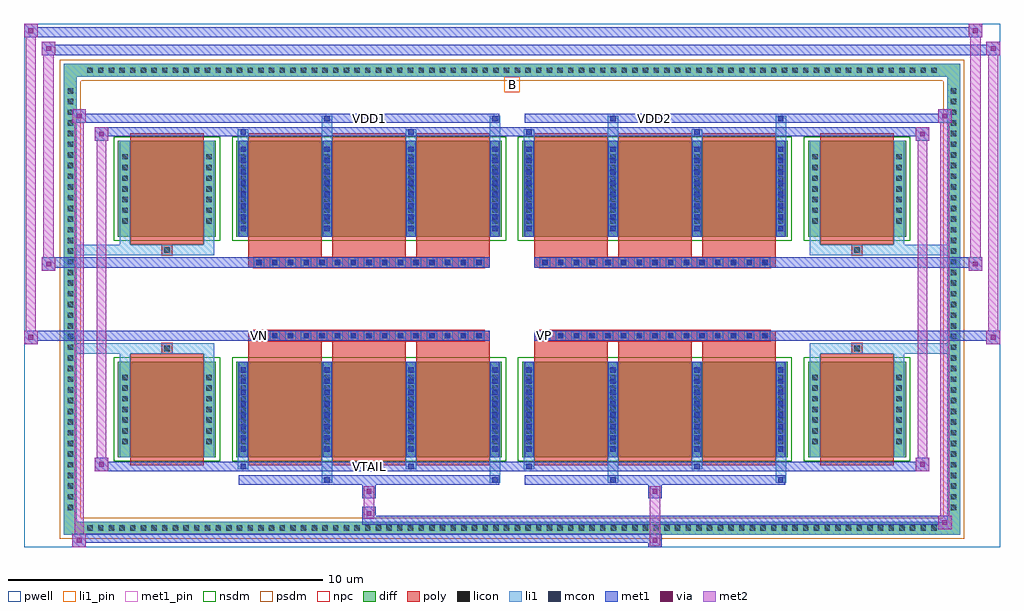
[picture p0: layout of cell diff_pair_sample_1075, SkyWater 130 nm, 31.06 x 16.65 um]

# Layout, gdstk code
import gdstk
lib = gdstk.Library(unit=1e-6, precision=5e-09)
def R(c, l, rs):  # rectangles x0, y0, x1, y1
    for r in rs: c.add(gdstk.rectangle(r[:2], r[2:], *l))
def A(c, l, x, y, w, h, nx, ny, dx, dy):  # array of equal rectangles
    R(c, l, [(x+i*dx, y+j*dy, x+i*dx+w, y+j*dy+h) for i in range(nx) for j in range(ny)])
def P(c, l, *ps):  # polygons
    for p in ps: c.add(gdstk.Polygon(p, *l))
pwell = (64, 44)
diff = (65, 20)
poly = (66, 20)
licon = (66, 44)
li1_pin = (67, 16)
li1 = (67, 20)
mcon = (67, 44)
met1_pin = (68, 16)
met1 = (68, 20)
via = (68, 44)
met2 = (69, 20)
nsdm = (93, 44)
psdm = (94, 20)
npc = (95, 20)

diff_pair_sample_1075 = lib.new_cell('diff_pair_sample_1075')
R(diff_pair_sample_1075, pwell, [(-15.53,-7.89,15.53,8.76), (-12.85,-6.08,-0.01,-0.8), (0.01,-6.08,12.85,-0.8), (-12.85,0.8,-0.01,6.08), (0.01,0.8,12.85,6.08)])
A(diff_pair_sample_1075, diff, -13.635, -7.49, 0.41, 0.41, 80, 2, 0.34, 14.57)
A(diff_pair_sample_1075, diff, -14.26, -6.835, 0.41, 0.41, 1, 40, 0, 0.34)
A(diff_pair_sample_1075, diff, 13.85, -6.835, 0.41, 0.41, 1, 40, 0, 0.34)
R(diff_pair_sample_1075, diff, [(-13.635,-7.49,13.635,-7.08), (-14.26,-6.835,-13.85,6.835), (13.85,-6.835,14.26,6.835), (-12.54,-5.035,-9.42,-1.985), (-8.78,-5.035,-0.32,-1.985), (0.32,-5.035,8.78,-1.985), (9.42,-5.035,12.54,-1.985), (-12.54,1.985,-9.42,5.035), (-8.78,1.985,-0.32,5.035), (0.32,1.985,8.78,5.035), (9.42,1.985,12.54,5.035), (-13.635,7.08,13.635,7.49)])
P(diff_pair_sample_1075, diff, [(14.26,7.49),(-14.26,7.49),(-14.26,-7.08),(-13.85,-7.08),(-13.85,7.08),(13.85,7.08),(13.85,-7.08),(-13.85,-7.08),(-14.26,-7.08),(-14.26,-7.49),(14.26,-7.49)])
A(diff_pair_sample_1075, poly, -8.39, -5.285, 2.34, 3.55, 3, 2, 2.67, 7.02)
A(diff_pair_sample_1075, poly, 0.71, -5.285, 2.34, 3.55, 3, 2, 2.67, 7.02)
A(diff_pair_sample_1075, poly, -8.39, -1.735, 2.34, 0.405, 3, 2, 2.67, 3.065)
A(diff_pair_sample_1075, poly, 0.71, -1.735, 2.34, 0.405, 3, 2, 2.67, 3.065)
A(diff_pair_sample_1075, poly, -8.215, -1.33, 0.33, 0.33, 15, 2, 0.5, 2.33)
A(diff_pair_sample_1075, poly, 0.885, -1.33, 0.33, 0.33, 15, 2, 0.5, 2.33)
R(diff_pair_sample_1075, poly, [(-12.15,-5.285,-9.81,-1.735), (9.81,-5.285,12.15,-1.735), (-11.145,-1.735,-10.815,-1.405), (-11.145,-1.735,-10.815,-1.405), (10.815,-1.735,11.145,-1.405), (10.815,-1.735,11.145,-1.405), (-8.39,-1.33,-0.71,-1), (0.71,-1.33,8.39,-1), (-8.39,1,-0.71,1.33), (0.71,1,8.39,1.33), (-11.145,1.405,-10.815,1.735), (-11.145,1.405,-10.815,1.735), (10.815,1.405,11.145,1.735), (10.815,1.405,11.145,1.735), (-12.15,1.735,-9.81,5.285), (9.81,1.735,12.15,5.285)])
A(diff_pair_sample_1075, licon, -13.515, -7.37, 0.17, 0.17, 80, 2, 0.34, 14.57)
A(diff_pair_sample_1075, licon, -14.14, -6.715, 0.17, 0.17, 1, 40, 0, 0.34)
A(diff_pair_sample_1075, licon, 13.97, -6.715, 0.17, 0.17, 1, 40, 0, 0.34)
A(diff_pair_sample_1075, licon, -12.4, -4.615, 0.17, 0.17, 1, 7, 0, 0.34)
A(diff_pair_sample_1075, licon, -9.73, -4.615, 0.17, 0.17, 1, 7, 0, 0.34)
A(diff_pair_sample_1075, licon, -8.64, -4.615, 0.17, 0.17, 4, 7, 2.67, 0.34)
A(diff_pair_sample_1075, licon, 0.46, -4.615, 0.17, 0.17, 4, 7, 2.67, 0.34)
A(diff_pair_sample_1075, licon, 9.56, -4.615, 0.17, 0.17, 1, 7, 0, 0.34)
A(diff_pair_sample_1075, licon, 12.23, -4.615, 0.17, 0.17, 1, 7, 0, 0.34)
A(diff_pair_sample_1075, licon, -8.135, -1.25, 0.17, 0.17, 15, 2, 0.5, 2.33)
A(diff_pair_sample_1075, licon, 0.965, -1.25, 0.17, 0.17, 15, 2, 0.5, 2.33)
A(diff_pair_sample_1075, licon, -12.4, 2.405, 0.17, 0.17, 1, 7, 0, 0.34)
A(diff_pair_sample_1075, licon, -9.73, 2.405, 0.17, 0.17, 1, 7, 0, 0.34)
A(diff_pair_sample_1075, licon, -8.64, 2.405, 0.17, 0.17, 4, 7, 2.67, 0.34)
A(diff_pair_sample_1075, licon, 0.46, 2.405, 0.17, 0.17, 4, 7, 2.67, 0.34)
A(diff_pair_sample_1075, licon, 9.56, 2.405, 0.17, 0.17, 1, 7, 0, 0.34)
A(diff_pair_sample_1075, licon, 12.23, 2.405, 0.17, 0.17, 1, 7, 0, 0.34)
R(diff_pair_sample_1075, licon, [(-11.065,-1.655,-10.895,-1.485), (10.895,-1.655,11.065,-1.485), (-11.065,1.485,-10.895,1.655), (10.895,1.485,11.065,1.655)])
R(diff_pair_sample_1075, li1_pin, [(-0.25,6.58,0.25,7.08)])
A(diff_pair_sample_1075, li1, -13.595, -7.45, 0.33, 0.33, 80, 2, 0.34, 14.57)
A(diff_pair_sample_1075, li1, -14.22, -6.795, 0.33, 0.33, 1, 40, 0, 0.34)
A(diff_pair_sample_1075, li1, 13.89, -6.795, 0.33, 0.33, 1, 40, 0, 0.34)
A(diff_pair_sample_1075, li1, -8.72, -5.035, 0.33, 3.05, 4, 2, 2.67, 7.02)
A(diff_pair_sample_1075, li1, 0.38, -5.035, 0.33, 3.05, 4, 2, 2.67, 7.02)
A(diff_pair_sample_1075, li1, -8.64, -4.855, 0.17, 0.17, 4, 8, 2.67, 0.36)
A(diff_pair_sample_1075, li1, -8.64, -4.855, 0.17, 2.69, 4, 2, 2.67, 7.02)
A(diff_pair_sample_1075, li1, 0.46, -4.855, 0.17, 0.17, 4, 8, 2.67, 0.36)
A(diff_pair_sample_1075, li1, 0.46, -4.855, 0.17, 2.69, 4, 2, 2.67, 7.02)
A(diff_pair_sample_1075, li1, -12.48, -4.695, 0.33, 0.33, 1, 7, 0, 0.34)
A(diff_pair_sample_1075, li1, -9.81, -4.695, 0.33, 0.33, 1, 7, 0, 0.34)
A(diff_pair_sample_1075, li1, -8.72, -4.695, 0.33, 0.33, 4, 7, 2.67, 0.34)
A(diff_pair_sample_1075, li1, 0.38, -4.695, 0.33, 0.33, 4, 7, 2.67, 0.34)
A(diff_pair_sample_1075, li1, 9.48, -4.695, 0.33, 0.33, 1, 7, 0, 0.34)
A(diff_pair_sample_1075, li1, 12.15, -4.695, 0.33, 0.33, 1, 7, 0, 0.34)
A(diff_pair_sample_1075, li1, -8.215, -1.33, 0.33, 0.33, 15, 2, 0.5, 2.33)
A(diff_pair_sample_1075, li1, 0.885, -1.33, 0.33, 0.33, 15, 2, 0.5, 2.33)
A(diff_pair_sample_1075, li1, -8.64, 2.165, 0.17, 0.17, 4, 8, 2.67, 0.36)
A(diff_pair_sample_1075, li1, 0.46, 2.165, 0.17, 0.17, 4, 8, 2.67, 0.36)
A(diff_pair_sample_1075, li1, -12.48, 2.325, 0.33, 0.33, 1, 7, 0, 0.34)
A(diff_pair_sample_1075, li1, -9.81, 2.325, 0.33, 0.33, 1, 7, 0, 0.34)
A(diff_pair_sample_1075, li1, -8.72, 2.325, 0.33, 0.33, 4, 7, 2.67, 0.34)
A(diff_pair_sample_1075, li1, 0.38, 2.325, 0.33, 0.33, 4, 7, 2.67, 0.34)
A(diff_pair_sample_1075, li1, 9.48, 2.325, 0.33, 0.33, 1, 7, 0, 0.34)
A(diff_pair_sample_1075, li1, 12.15, 2.325, 0.33, 0.33, 1, 7, 0, 0.34)
R(diff_pair_sample_1075, li1, [(-14.26,-7.49,-13.85,-7.08), (-14.26,-7.49,-13.85,-7.08), (-13.85,-7.49,13.85,-7.08), (13.85,-7.49,14.26,-7.08), (13.85,-7.49,14.26,-7.08), (-14.26,-7.08,-13.85,7.08), (13.85,-7.08,14.26,7.08), (-6.05,-5.84,-5.72,-5.035), (-5.97,-5.84,-5.8,-5.67), (-0.71,-5.84,-0.38,-5.035), (-0.63,-5.84,-0.46,-5.67), (3.05,-5.84,3.38,-5.035), (3.13,-5.84,3.3,-5.67), (8.39,-5.84,8.72,-5.035), (8.47,-5.84,8.64,-5.67), (-8.72,-5.41,-8.39,-5.035), (-8.64,-5.41,-8.47,-5.24), (-3.38,-5.41,-3.05,-5.035), (-3.3,-5.41,-3.13,-5.24), (0.38,-5.41,0.71,-5.035), (0.46,-5.41,0.63,-5.24), (5.72,-5.41,6.05,-5.035), (5.8,-5.41,5.97,-5.24), (-12.48,-5.035,-12.15,-1.985), (-9.81,-5.035,-9.48,-1.985), (9.48,-5.035,9.81,-1.985), (12.15,-5.035,12.48,-1.985), (-12.48,-1.985,-12.15,-1.405), (-9.81,-1.985,-9.48,-1.405), (9.48,-1.985,9.81,-1.405), (12.15,-1.985,12.48,-1.405), (-14.26,-1.735,-11.145,-1.405), (-12.48,-1.735,-11.145,-1.405), (-11.145,-1.735,-10.815,-1.405), (-10.815,-1.735,-9.48,-1.405), (9.48,-1.735,10.815,-1.405), (10.815,-1.735,11.145,-1.405), (10.815,-1.735,14.26,-1.405), (11.145,-1.735,12.48,-1.405), (-14.26,1.405,-11.145,1.735), (-12.48,1.405,-11.145,1.735), (-12.48,1.405,-12.15,1.985), (-11.145,1.405,-10.815,1.735), (-10.815,1.405,-9.48,1.735), (-9.81,1.405,-9.48,1.985), (9.48,1.405,10.815,1.735), (9.48,1.405,9.81,1.985), (10.815,1.405,11.145,1.735), (10.815,1.405,14.26,1.735), (11.145,1.405,12.48,1.735), (12.15,1.405,12.48,1.985), (-12.48,1.985,-12.15,5.035), (-9.81,1.985,-9.48,5.035), (9.48,1.985,9.81,5.035), (12.15,1.985,12.48,5.035), (-8.72,5.035,-8.39,5.41), (-6.05,5.035,-5.72,5.84), (-3.38,5.035,-3.05,5.41), (-0.71,5.035,-0.38,5.84), (0.38,5.035,0.71,5.41), (3.05,5.035,3.38,5.84), (5.72,5.035,6.05,5.41), (8.39,5.035,8.72,5.84), (-8.64,5.24,-8.47,5.41), (-3.3,5.24,-3.13,5.41), (0.46,5.24,0.63,5.41), (5.8,5.24,5.97,5.41), (-5.97,5.67,-5.8,5.84), (-0.63,5.67,-0.46,5.84), (3.13,5.67,3.3,5.84), (8.47,5.67,8.64,5.84), (-14.26,7.08,-13.85,7.49), (-14.26,7.08,-13.85,7.49), (-13.85,7.08,13.85,7.49), (13.85,7.08,14.26,7.49), (13.85,7.08,14.26,7.49)])
A(diff_pair_sample_1075, mcon, -8.64, -4.855, 0.17, 0.17, 4, 8, 2.67, 0.36)
A(diff_pair_sample_1075, mcon, 0.46, -4.855, 0.17, 0.17, 4, 8, 2.67, 0.36)
A(diff_pair_sample_1075, mcon, -8.135, -1.25, 0.17, 0.17, 15, 2, 0.5, 2.33)
A(diff_pair_sample_1075, mcon, 0.965, -1.25, 0.17, 0.17, 15, 2, 0.5, 2.33)
A(diff_pair_sample_1075, mcon, -8.64, 2.165, 0.17, 0.17, 4, 8, 2.67, 0.36)
A(diff_pair_sample_1075, mcon, 0.46, 2.165, 0.17, 0.17, 4, 8, 2.67, 0.36)
R(diff_pair_sample_1075, mcon, [(-5.97,-5.84,-5.8,-5.67), (-0.63,-5.84,-0.46,-5.67), (3.13,-5.84,3.3,-5.67), (8.47,-5.84,8.64,-5.67), (-8.64,-5.41,-8.47,-5.24), (-3.3,-5.41,-3.13,-5.24), (0.46,-5.41,0.63,-5.24), (5.8,-5.41,5.97,-5.24), (-8.64,5.24,-8.47,5.41), (-3.3,5.24,-3.13,5.41), (0.46,5.24,0.63,5.41), (5.8,5.24,5.97,5.41), (-5.97,5.67,-5.8,5.84), (-0.63,5.67,-0.46,5.84), (3.13,5.67,3.3,5.84), (8.47,5.67,8.64,5.84)])
R(diff_pair_sample_1075, met1_pin, [(-4.685,-5.45,-4.415,-5.18), (-8.185,-1.29,-7.915,-1.02), (0.915,-1.29,1.185,-1.02), (-4.685,5.63,-4.415,5.9), (4.415,5.63,4.685,5.9)])
A(diff_pair_sample_1075, met1, -8.7, -5.035, 0.29, 3.05, 4, 2, 2.67, 7.02)
A(diff_pair_sample_1075, met1, 0.4, -5.035, 0.29, 3.05, 4, 2, 2.67, 7.02)
A(diff_pair_sample_1075, met1, -8.7, -4.915, 0.29, 0.29, 4, 8, 2.67, 0.36)
A(diff_pair_sample_1075, met1, 0.4, -4.915, 0.29, 0.29, 4, 8, 2.67, 0.36)
A(diff_pair_sample_1075, met1, -8.195, -1.31, 0.29, 0.29, 15, 2, 0.5, 2.33)
A(diff_pair_sample_1075, met1, 0.905, -1.31, 0.29, 0.29, 15, 2, 0.5, 2.33)
A(diff_pair_sample_1075, met1, -8.7, 2.105, 0.29, 0.29, 4, 8, 2.67, 0.36)
A(diff_pair_sample_1075, met1, 0.4, 2.105, 0.29, 0.29, 4, 8, 2.67, 0.36)
R(diff_pair_sample_1075, met1, [(-13.99,-7.89,-13.56,-7.46), (4.335,-7.89,4.765,-7.46), (-13.99,-7.75,4.765,-7.46), (13.56,-7.32,13.99,-6.89), (-4.765,-7.18,13.99,-6.89), (-4.765,-7.04,-4.335,-6.61), (-4.765,-6.33,-4.335,-5.9), (4.335,-6.33,4.765,-5.9), (-8.7,-5.9,-0.4,-5.61), (-6.03,-5.9,-5.74,-5.61), (-0.69,-5.9,-0.4,-5.61), (0.4,-5.9,8.7,-5.61), (3.07,-5.9,3.36,-5.61), (8.41,-5.9,8.7,-5.61), (-13.28,-5.47,-12.85,-5.04), (-13.28,-5.47,-8.7,-5.18), (-8.7,-5.47,-8.41,-5.18), (-8.7,-5.47,-0.4,-5.18), (-3.36,-5.47,-3.07,-5.18), (-0.4,-5.47,0.4,-5.18), (0.4,-5.47,0.69,-5.18), (0.4,-5.47,8.7,-5.18), (5.74,-5.47,6.03,-5.18), (8.7,-5.47,13.28,-5.18), (12.85,-5.47,13.28,-5.04), (-15.53,-1.43,-15.1,-1), (15.1,-1.43,15.53,-1), (-15.53,-1.33,-0.71,-1), (-8.39,-1.33,-0.71,-1), (0.71,-1.33,8.39,-1), (0.71,-1.33,15.53,-1), (-14.96,0.9,-14.53,1.33), (14.53,0.9,14.96,1.33), (-14.96,1,-8.39,1.33), (-8.39,1,-0.71,1.33), (0.71,1,8.39,1.33), (8.39,1,14.96,1.33), (-13.28,5.04,-12.85,5.47), (12.85,5.04,13.28,5.47), (-13.28,5.18,-8.7,5.47), (-8.7,5.18,-8.41,5.47), (-8.7,5.18,-0.4,5.47), (-3.36,5.18,-3.07,5.47), (-0.4,5.18,0.4,5.47), (0.4,5.18,0.69,5.47), (0.4,5.18,8.7,5.47), (5.74,5.18,6.03,5.47), (8.7,5.18,13.28,5.47), (-13.99,5.61,-13.56,6.04), (-13.99,5.61,-8.7,5.9), (-8.7,5.61,-0.4,5.9), (-6.03,5.61,-5.74,5.9), (-0.69,5.61,-0.4,5.9), (0.4,5.61,8.7,5.9), (3.07,5.61,3.36,5.9), (8.41,5.61,8.7,5.9), (8.7,5.61,13.99,5.9), (13.56,5.61,13.99,6.04), (-14.96,7.76,-14.53,8.19), (-14.96,7.76,-12.85,8.09), (-12.85,7.76,12.85,8.09), (12.85,7.76,15.53,8.09), (15.1,7.76,15.53,8.19), (-15.53,8.33,-15.1,8.76), (-15.53,8.33,-12.85,8.66), (-12.85,8.33,12.85,8.66), (12.85,8.33,14.96,8.66), (14.53,8.33,14.96,8.76)])
R(diff_pair_sample_1075, via, [(-13.85,-7.75,-13.7,-7.6), (4.475,-7.75,4.625,-7.6), (13.7,-7.18,13.85,-7.03), (-4.625,-6.9,-4.475,-6.75), (-4.625,-6.19,-4.475,-6.04), (4.475,-6.19,4.625,-6.04), (-13.14,-5.33,-12.99,-5.18), (12.99,-5.33,13.14,-5.18), (-15.39,-1.29,-15.24,-1.14), (15.24,-1.29,15.39,-1.14), (-14.82,1.04,-14.67,1.19), (14.67,1.04,14.82,1.19), (-13.14,5.18,-12.99,5.33), (12.99,5.18,13.14,5.33), (-13.85,5.75,-13.7,5.9), (13.7,5.75,13.85,5.9), (-14.82,7.9,-14.67,8.05), (15.24,7.9,15.39,8.05), (-15.39,8.47,-15.24,8.62), (14.67,8.47,14.82,8.62)])
R(diff_pair_sample_1075, met2, [(-13.99,-7.89,-13.56,-7.46), (-13.92,-7.89,-13.63,6.04), (-13.63,-7.89,-13.56,-7.46), (-13.94,-7.84,-13.61,-7.51), (4.385,-7.84,4.715,-7.51), (4.385,-7.51,4.715,-6.28), (13.56,-7.32,13.99,-6.89), (13.63,-7.32,13.92,6.04), (13.92,-7.32,13.99,-6.89), (13.61,-7.27,13.94,-6.94), (-4.715,-6.99,-4.385,-6.66), (-4.715,-6.66,-4.385,-6.28), (-4.715,-6.28,-4.385,-5.95), (4.385,-6.28,4.715,-5.95), (-13.28,-5.47,-12.85,-5.04), (-13.21,-5.47,-12.92,5.47), (-12.92,-5.47,-12.85,-5.04), (12.85,-5.47,13.28,-5.04), (12.92,-5.47,13.21,5.47), (13.21,-5.47,13.28,-5.04), (-13.23,-5.42,-12.9,-5.09), (12.9,-5.42,13.23,-5.09), (-15.53,-1.43,-15.1,-1), (-15.48,-1.43,-15.15,8.76), (-15.15,-1.43,-15.1,-1), (15.1,-1.43,15.53,-1), (15.15,-1.43,15.48,8.19), (15.48,-1.43,15.53,-1), (-15.48,-1.38,-15.15,-1.05), (15.15,-1.38,15.48,-1.05), (-14.96,0.9,-14.53,1.33), (-14.91,0.9,-14.58,8.19), (-14.58,0.9,-14.53,1.33), (14.53,0.9,14.96,1.33), (14.58,0.9,14.91,8.76), (14.91,0.9,14.96,1.33), (-14.91,0.95,-14.58,1.28), (14.58,0.95,14.91,1.28), (-13.28,5.04,-12.85,5.47), (-12.92,5.04,-12.85,5.47), (12.85,5.04,13.28,5.47), (13.21,5.04,13.28,5.47), (-13.23,5.09,-12.9,5.42), (12.9,5.09,13.23,5.42), (-13.99,5.61,-13.56,6.04), (-13.63,5.61,-13.56,6.04), (13.56,5.61,13.99,6.04), (13.92,5.61,13.99,6.04), (-13.94,5.66,-13.61,5.99), (13.61,5.66,13.94,5.99), (-14.96,7.76,-14.53,8.19), (-14.58,7.76,-14.53,8.19), (15.1,7.76,15.53,8.19), (15.48,7.76,15.53,8.19), (-14.91,7.81,-14.58,8.14), (15.15,7.81,15.48,8.14), (-15.53,8.33,-15.1,8.76), (-15.15,8.33,-15.1,8.76), (14.53,8.33,14.96,8.76), (14.91,8.33,14.96,8.76), (-15.48,8.38,-15.15,8.71), (14.58,8.38,14.91,8.71)])
R(diff_pair_sample_1075, nsdm, [(-12.67,-5.165,-9.29,-1.855), (-8.91,-5.165,-0.19,-1.855), (0.19,-5.165,8.91,-1.855), (9.29,-5.165,12.67,-1.855), (-12.67,1.855,-9.29,5.165), (-8.91,1.855,-0.19,5.165), (0.19,1.855,8.91,5.165), (9.29,1.855,12.67,5.165)])
P(diff_pair_sample_1075, psdm, [(14.39,7.62),(-14.39,7.62),(-14.39,-6.95),(-13.72,-6.95),(-13.72,6.95),(13.72,6.95),(13.72,-6.95),(-13.72,-6.95),(-14.39,-6.95),(-14.39,-7.62),(14.39,-7.62)])
A(diff_pair_sample_1075, npc, -8.235, -1.35, 0.37, 0.37, 15, 2, 0.5, 2.33)
A(diff_pair_sample_1075, npc, 0.865, -1.35, 0.37, 0.37, 15, 2, 0.5, 2.33)
R(diff_pair_sample_1075, npc, [(-11.165,-1.755,-10.795,-1.385), (10.795,-1.755,11.165,-1.385), (-8.235,-1.35,-7.365,-0.98), (-8.235,-1.35,-7.365,-0.98), (-7.735,-1.35,-6.865,-0.98), (-7.735,-1.35,-6.865,-0.98), (-7.235,-1.35,-6.365,-0.98), (-7.235,-1.35,-6.365,-0.98), (-6.735,-1.35,-5.865,-0.98), (-6.735,-1.35,-5.865,-0.98), (-6.235,-1.35,-5.365,-0.98), (-6.235,-1.35,-5.365,-0.98), (-5.735,-1.35,-4.865,-0.98), (-5.735,-1.35,-4.865,-0.98), (-5.235,-1.35,-4.365,-0.98), (-5.235,-1.35,-4.365,-0.98), (-4.735,-1.35,-3.865,-0.98), (-4.735,-1.35,-3.865,-0.98), (-4.235,-1.35,-3.365,-0.98), (-4.235,-1.35,-3.365,-0.98), (-3.735,-1.35,-2.865,-0.98), (-3.735,-1.35,-2.865,-0.98), (-3.235,-1.35,-2.365,-0.98), (-3.235,-1.35,-2.365,-0.98), (-2.735,-1.35,-1.865,-0.98), (-2.735,-1.35,-1.865,-0.98), (-2.235,-1.35,-1.365,-0.98), (-2.235,-1.35,-1.365,-0.98), (-1.735,-1.35,-0.865,-0.98), (-1.735,-1.35,-0.865,-0.98), (0.865,-1.35,1.735,-0.98), (0.865,-1.35,1.735,-0.98), (1.365,-1.35,2.235,-0.98), (1.365,-1.35,2.235,-0.98), (1.865,-1.35,2.735,-0.98), (1.865,-1.35,2.735,-0.98), (2.365,-1.35,3.235,-0.98), (2.365,-1.35,3.235,-0.98), (2.865,-1.35,3.735,-0.98), (2.865,-1.35,3.735,-0.98), (3.365,-1.35,4.235,-0.98), (3.365,-1.35,4.235,-0.98), (3.865,-1.35,4.735,-0.98), (3.865,-1.35,4.735,-0.98), (4.365,-1.35,5.235,-0.98), (4.365,-1.35,5.235,-0.98), (4.865,-1.35,5.735,-0.98), (4.865,-1.35,5.735,-0.98), (5.365,-1.35,6.235,-0.98), (5.365,-1.35,6.235,-0.98), (5.865,-1.35,6.735,-0.98), (5.865,-1.35,6.735,-0.98), (6.365,-1.35,7.235,-0.98), (6.365,-1.35,7.235,-0.98), (6.865,-1.35,7.735,-0.98), (6.865,-1.35,7.735,-0.98), (7.365,-1.35,8.235,-0.98), (7.365,-1.35,8.235,-0.98), (-8.235,0.98,-7.365,1.35), (-8.235,0.98,-7.365,1.35), (-7.735,0.98,-6.865,1.35), (-7.735,0.98,-6.865,1.35), (-7.235,0.98,-6.365,1.35), (-7.235,0.98,-6.365,1.35), (-6.735,0.98,-5.865,1.35), (-6.735,0.98,-5.865,1.35), (-6.235,0.98,-5.365,1.35), (-6.235,0.98,-5.365,1.35), (-5.735,0.98,-4.865,1.35), (-5.735,0.98,-4.865,1.35), (-5.235,0.98,-4.365,1.35), (-5.235,0.98,-4.365,1.35), (-4.735,0.98,-3.865,1.35), (-4.735,0.98,-3.865,1.35), (-4.235,0.98,-3.365,1.35), (-4.235,0.98,-3.365,1.35), (-3.735,0.98,-2.865,1.35), (-3.735,0.98,-2.865,1.35), (-3.235,0.98,-2.365,1.35), (-3.235,0.98,-2.365,1.35), (-2.735,0.98,-1.865,1.35), (-2.735,0.98,-1.865,1.35), (-2.235,0.98,-1.365,1.35), (-2.235,0.98,-1.365,1.35), (-1.735,0.98,-0.865,1.35), (-1.735,0.98,-0.865,1.35), (0.865,0.98,1.735,1.35), (0.865,0.98,1.735,1.35), (1.365,0.98,2.235,1.35), (1.365,0.98,2.235,1.35), (1.865,0.98,2.735,1.35), (1.865,0.98,2.735,1.35), (2.365,0.98,3.235,1.35), (2.365,0.98,3.235,1.35), (2.865,0.98,3.735,1.35), (2.865,0.98,3.735,1.35), (3.365,0.98,4.235,1.35), (3.365,0.98,4.235,1.35), (3.865,0.98,4.735,1.35), (3.865,0.98,4.735,1.35), (4.365,0.98,5.235,1.35), (4.365,0.98,5.235,1.35), (4.865,0.98,5.735,1.35), (4.865,0.98,5.735,1.35), (5.365,0.98,6.235,1.35), (5.365,0.98,6.235,1.35), (5.865,0.98,6.735,1.35), (5.865,0.98,6.735,1.35), (6.365,0.98,7.235,1.35), (6.365,0.98,7.235,1.35), (6.865,0.98,7.735,1.35), (6.865,0.98,7.735,1.35), (7.365,0.98,8.235,1.35), (7.365,0.98,8.235,1.35), (-11.165,1.385,-10.795,1.755), (10.795,1.385,11.165,1.755)])
diff_pair_sample_1075.add(gdstk.Label('VTAIL', (-4.55,-5.315), layer=68, texttype=5))
diff_pair_sample_1075.add(gdstk.Label('VN', (-8.05,-1.155), layer=68, texttype=5))
diff_pair_sample_1075.add(gdstk.Label('VP', (1.05,-1.155), layer=68, texttype=5))
diff_pair_sample_1075.add(gdstk.Label('B', (0,6.83), layer=67, texttype=5))
diff_pair_sample_1075.add(gdstk.Label('VDD2', (4.55,5.765), layer=68, texttype=5))
diff_pair_sample_1075.add(gdstk.Label('VDD1', (-4.55,5.765), layer=68, texttype=5))

lib.write_gds('diff_pair_sample_1075.gds')
